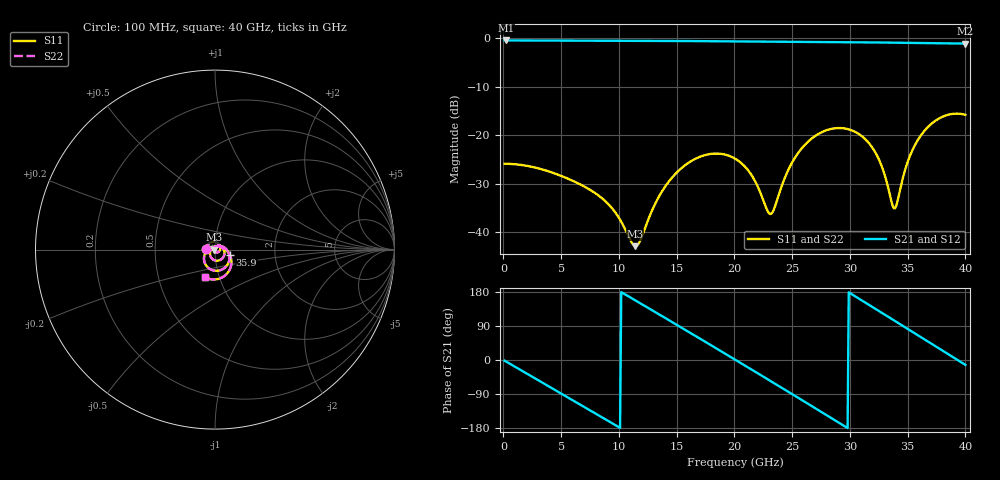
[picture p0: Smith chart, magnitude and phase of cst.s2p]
! thru_s8x2_L1: 2×thru, L1, 8 mm
! stackup: 8-layer 1.6 mm FR-4 without the L2 plane
! ports: 1, 2
! CST Studio Suite 2025.5 Release from 2025-05-30, time domain (FIT, hexahedral, PBA), 98000 mesh cells, 26 s
! mesh: {'lpw': 20, 'lpb': 20, 'minstep': 0.0, 'ratio': 20}; ports: port 1 (face); port 2 (face)
! interpolated from CST's 1001 samples to the case grid
# Hz S RI R 50
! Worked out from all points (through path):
!   400 points, 100 MHz to 40 GHz, reference 50 ohm
!   highest |S21| = -0.45 dB at 200 MHz (marker M1); lowest = -1.1 dB at 40 GHz (marker M2)
!   group delay of S21, straight-line fit = 50.9 ps
!   lowest |S11| = -42.9 dB at 11.4 GHz (marker M3), VSWR 1.01, Z = 49.3 - j0.00516 ohm
!   |S11| at or under -10 dB: start of sweep to end of sweep
!   |S22| runs from -42.9 to -15.6 dB; largest |S21 - S12| = 4.5e-07
!   S11 on the Smith chart (normalised r, x): 100 MHz: 0.90, +0.00; 35.9 GHz: 1.18, -0.08; 40 GHz: 0.85, -0.27
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1e8  -0.0507 0.00198  0.9493 -0.0293  0.9493 -0.0293  -0.0507 0.00198
2e8  -0.0506 0.00395  0.9479 -0.0587  0.9479 -0.0587  -0.0506 0.00395
1.9e9  -0.0356 0.033  0.7902 -0.5258  0.7902 -0.5258  -0.0356 0.033
3.8e9  -0.00148 0.0427  0.3663 -0.874  0.3663 -0.874  -0.00148 0.0427
6.8e9  0.0297 0.00633  -0.4779 -0.8152  -0.4779 -0.8152  0.0297 0.00633
9.2e9  0.00934 -0.0163  -0.9023 -0.2756  -0.9023 -0.2756  0.00934 -0.0163
1.14e10  -0.00715 -5.24e-05  -0.8715 0.3575  -0.8715 0.3575  -0.00715 -5.24e-05
1.34e10  0.0114 0.0194  -0.4952 0.799  -0.4952 0.799  0.0114 0.0194
1.64e10  0.0529 -0.0161  0.3567 0.8651  0.3567 0.8651  0.0529 -0.0161
1.84e10  0.031 -0.0567  0.7971 0.4836  0.7971 0.4836  0.031 -0.0567
2.01e10  -0.00966 -0.056  0.9292 0.00327  0.9292 0.00327  -0.00966 -0.056
2.31e10  -0.00897 0.0125  0.5306 -0.7557  0.5306 -0.7557  -0.00897 0.0125
2.49e10  0.0479 0.0136  0.0288 -0.9192  0.0288 -0.9192  0.0479 0.0136
2.67e10  0.0808 -0.045  -0.4806 -0.78  -0.4806 -0.78  0.0808 -0.045
2.84e10  0.047 -0.1063  -0.8162 -0.4095  -0.8162 -0.4095  0.047 -0.1063
3e10  -0.0207 -0.112  -0.9087 0.0532  -0.9087 0.0532  -0.0207 -0.112
3.21e10  -0.0599 -0.0353  -0.6635 0.617  -0.6635 0.617  -0.0599 -0.0353
3.34e10  -0.0238 0.0104  -0.3453 0.8341  -0.3453 0.8341  -0.0238 0.0104
3.39e10  -0.000758 0.0175  -0.203 0.8781  -0.203 0.8781  -0.000758 0.0175
3.59e10  0.0839 -0.0321  0.377 0.8115  0.377 0.8115  0.0839 -0.0321
3.81e10  0.0516 -0.1477  0.8149 0.3511  0.8149 0.3511  0.0516 -0.1477
4e10  -0.0578 -0.1516  0.8599 -0.1962  0.8599 -0.1962  -0.0578 -0.1516
